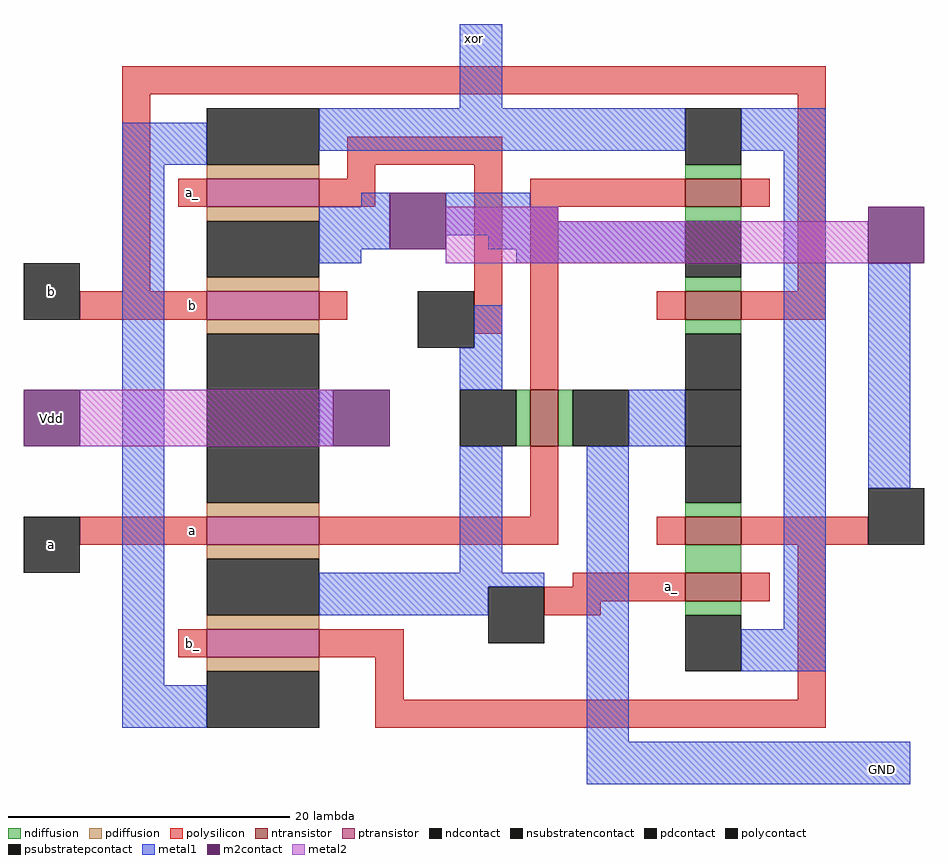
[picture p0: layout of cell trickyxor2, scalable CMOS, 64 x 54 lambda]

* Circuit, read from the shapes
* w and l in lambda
.subckt trickyxor2 GND Vdd a a_ b b_ xor
M1 GND a a_ GND nfet w=4 l=2
M2 n1 a_ xor GND nfet w=4 l=2
M3 GND b_ n1 GND nfet w=4 l=2
M4 b_ b GND GND nfet w=4 l=2
M5 xor a b_ GND nfet w=4 l=2
M6 a_ b_ xor Vdd pfet w=8 l=2
M7 Vdd a a_ Vdd pfet w=8 l=2
M8 b_ b Vdd Vdd pfet w=8 l=2
M9 xor a_ b_ Vdd pfet w=8 l=2
.ends

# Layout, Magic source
magic
tech scmos
<< polysilicon >>
rect -13 38 37 40
rect -13 24 -11 38
rect 3 33 14 35
rect 3 32 5 33
rect -9 30 -7 32
rect 1 30 5 32
rect -16 22 -7 24
rect 1 22 3 24
rect 12 21 14 33
rect 16 30 27 32
rect 31 30 33 32
rect 16 17 18 30
rect 35 24 37 38
rect 25 22 27 24
rect 31 22 37 24
rect 16 8 18 13
rect -16 6 -7 8
rect 1 6 18 8
rect 25 6 27 8
rect 31 6 40 8
rect 19 3 27 4
rect -9 -2 -7 0
rect 1 -2 7 0
rect 17 2 27 3
rect 31 2 33 4
rect 17 1 21 2
rect 5 -5 7 -2
rect 35 -5 37 6
rect 5 -7 37 -5
<< ndiffusion >>
rect 27 32 31 33
rect 27 29 31 30
rect 27 24 31 25
rect 27 21 31 22
rect 15 13 16 17
rect 18 13 19 17
rect 27 8 31 9
rect 27 4 31 6
rect 27 1 31 2
<< pdiffusion >>
rect -7 32 1 33
rect -7 29 1 30
rect -7 24 1 25
rect -7 21 1 22
rect -7 8 1 9
rect -7 5 1 6
rect -7 0 1 1
rect -7 -3 1 -2
<< metal1 >>
rect 11 37 14 43
rect -13 33 -7 36
rect 1 34 27 37
rect 31 34 37 37
rect -13 -4 -10 33
rect 4 30 6 31
rect 1 27 6 30
rect 10 30 16 31
rect 10 29 18 30
rect 10 28 27 29
rect 13 27 27 28
rect 1 26 4 27
rect 15 26 27 27
rect 12 20 14 23
rect 11 17 14 20
rect 1 13 2 17
rect 23 13 27 17
rect 11 4 14 13
rect 1 3 17 4
rect 1 1 13 3
rect -13 -7 -7 -4
rect 20 -8 23 13
rect 34 0 37 34
rect 40 10 43 26
rect 31 -3 37 0
rect 20 -11 43 -8
<< metal2 >>
rect 10 29 18 30
rect 10 26 40 29
rect -16 13 2 17
<< ntransistor >>
rect 27 30 31 32
rect 27 22 31 24
rect 16 13 18 17
rect 27 6 31 8
rect 27 2 31 4
<< ptransistor >>
rect -7 30 1 32
rect -7 22 1 24
rect -7 6 1 8
rect -7 -2 1 0
<< polycontact >>
rect -20 22 -16 26
rect 8 20 12 24
rect -20 4 -16 8
rect 40 6 44 10
rect 13 -1 17 3
<< ndcontact >>
rect 27 33 31 37
rect 27 25 31 29
rect 27 17 31 21
rect 11 13 15 17
rect 19 13 23 17
rect 27 9 31 13
rect 27 -3 31 1
<< pdcontact >>
rect -7 33 1 37
rect -7 25 1 29
rect -7 17 1 21
rect -7 9 1 13
rect -7 1 1 5
rect -7 -7 1 -3
<< m2contact >>
rect -20 13 -16 17
rect 6 27 10 31
rect 2 13 6 17
rect 40 26 44 30
<< psubstratepcontact >>
rect 27 13 31 17
<< nsubstratencontact >>
rect -7 13 1 17
<< labels >>
rlabel polysilicon -8 23 -8 23 3 b
rlabel polysilicon -8 31 -8 31 3 a_
rlabel polysilicon -8 7 -8 7 3 a
rlabel polysilicon -8 -1 -8 -1 3 b_
rlabel polysilicon 26 3 26 3 1 a_
rlabel metal1 12 42 12 42 5 xor
rlabel metal1 41 -10 41 -10 8 GND
rlabel m2contact -18 15 -18 15 3 Vdd
rlabel polycontact -18 6 -18 6 3 a
rlabel polycontact -18 24 -18 24 3 b
<< end >>
